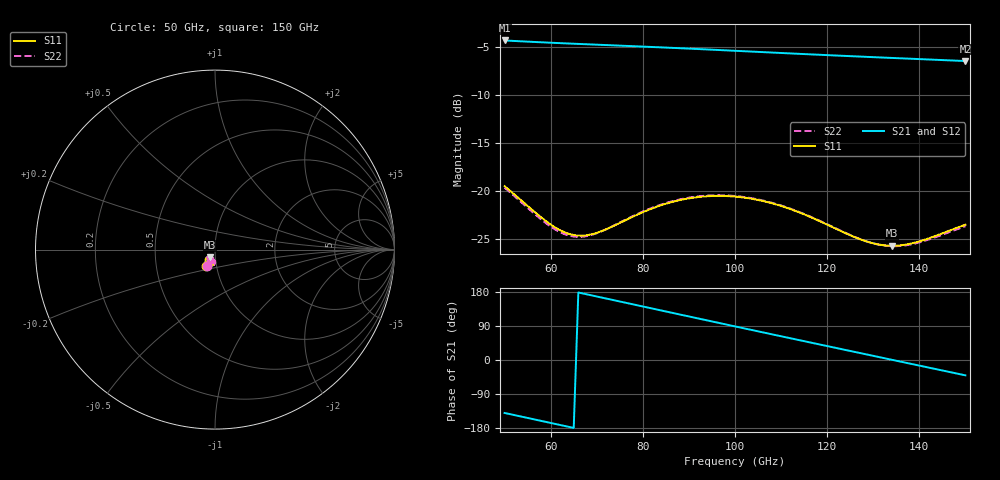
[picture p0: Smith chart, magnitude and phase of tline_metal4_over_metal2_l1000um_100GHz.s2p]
#  GHZ S DB R 50
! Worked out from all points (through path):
!   101 points, 50 GHz to 150 GHz, reference 50 ohm
!   highest |S21| = -4.34 dB at 50 GHz (marker M1); lowest = -6.5 dB at 150 GHz (marker M2)
!   group delay of S21, straight-line fit = 7.25 ps
!   lowest |S11| = -25.7 dB at 134 GHz (marker M3), VSWR 1.11, Z = 47 - j4.03 ohm
!   |S11| at or under -10 dB: start of sweep to end of sweep
!   |S22| runs from -25.7 to -19.7 dB; largest |S21 - S12| = 6.7e-14
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50  -19.50 -117.3  -4.34 -139.8  -4.34 -139.8  -19.66 -117.0
56  -21.97 -118.9  -4.48 -155.6  -4.48 -155.6  -22.18 -118.2
61  -23.81 -113.6  -4.59 -168.7  -4.59 -168.7  -24.02 -112.1
64  -24.48 -107.6  -4.66 -176.6  -4.66 -176.6  -24.65 -105.7
67  -24.65 -101.0  -4.72 175.5  -4.72 175.5  -24.76 -98.9
70  -24.36 -95.4  -4.78 167.6  -4.78 167.6  -24.40 -93.3
75  -23.33 -90.8  -4.88 154.4  -4.88 154.4  -23.29 -89.0
79  -22.42 -91.1  -4.96 143.9  -4.96 143.9  -22.36 -89.6
84  -21.48 -94.8  -5.06 130.7  -5.06 130.7  -21.41 -93.7
88  -20.96 -99.4  -5.14 120.2  -5.14 120.2  -20.88 -98.5
92  -20.63 -104.7  -5.23 109.6  -5.23 109.6  -20.57 -104.0
96  -20.51 -110.5  -5.32 99.2  -5.32 99.2  -20.45 -109.9
100  -20.59 -116.3  -5.41 88.7  -5.41 88.7  -20.53 -115.8
108  -21.28 -126.9  -5.60 67.8  -5.60 67.8  -21.23 -126.7
117  -22.85 -134.9  -5.80 44.5  -5.80 44.5  -22.81 -135.0
122  -23.96 -135.8  -5.91 31.6  -5.91 31.6  -23.92 -136.1
126  -24.81 -134.0  -5.99 21.3  -5.99 21.3  -24.79 -134.6
130  -25.45 -130.0  -6.07 11.0  -6.07 11.0  -25.46 -130.8
134  -25.70 -124.5  -6.16 0.7  -6.16 0.7  -25.75 -125.4
138  -25.50 -119.2  -6.24 -9.6  -6.24 -9.6  -25.58 -120.2
142  -24.94 -115.4  -6.32 -19.9  -6.32 -19.9  -25.06 -116.4
150  -23.51 -114.3  -6.48 -40.5  -6.48 -40.5  -23.68 -115.2
